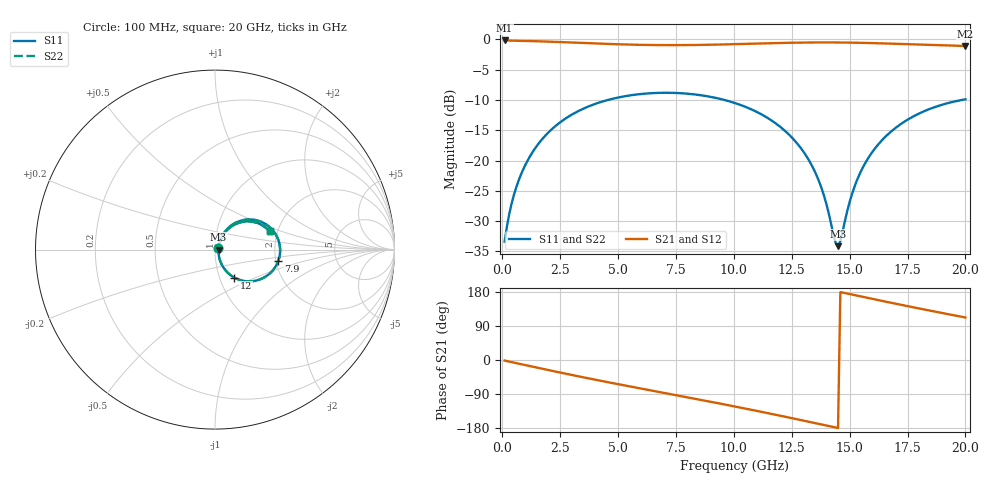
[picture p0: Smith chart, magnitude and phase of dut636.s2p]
! Touchstone file exported from HFSS 2026.1.0
!  File:  C:/ffzhzh/LocalFiles/Ansys_Project_Files/temp_train_TSV_RDL_636_1783126948_37876.aedt
!  Generated:  09:14:20 AM Jul  4, 2026
!  Design:  TSV_RDL
!  Project:  temp_train_TSV_RDL_636_1783126948_37876
! Variables:
!  h_bsmrdl = 4.11um
!  h_ox = 20um
!  h_rdl = 5um
!  h_sub = 80.96um
!  h_tmrdl = 3.84um
!  h_tsv = 80.96um
!  h_via = 3um
!  l_bsmrdl = 364.12um
!  l_sub = 4127.29um
!  l_tmrdl = 620.31um
!  m_sub = 200um
!  pitch = 38.67um
!  r_tsv = 3.58um
!  s_tmrdl = 10um
!  w_bsmrdl = 25.98um
!  w_sub = 500um
!  w_tmrdl = 25.25um
!  x_tsv_center1 = 632.935um
!  x_tsv_center2 = 1023.035um
!  x_tsv_center3 = 1668.595um
!  x_tsv_center4 = 2058.695um
!  x_tsv_center5 = 2704.255um
!  x_tsv_center6 = 3094.355um
# GHz S MA R 50.000000
! Terminal data exported
! Port[1] = TM_RDL1_1_T1
! Port[2] = TM_RDL5_1_T1
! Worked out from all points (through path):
!   200 points, 100 MHz to 20 GHz, reference 50 ohm
!   highest |S21| = -0.16 dB at 100 MHz (marker M1); lowest = -1.1 dB at 20 GHz (marker M2)
!   group delay of S21, straight-line fit = 34.2 ps
!   lowest |S11| = -34.1 dB at 14.5 GHz (marker M3), VSWR 1.04, Z = 52 + j0.0329 ohm
!   |S11| at or under -10 dB: start of sweep to 4.552 GHz; 9.604 GHz to 19.83 GHz (10.23 GHz wide, 69.5 % of centre)
!   |S22| runs from -34.1 to -8.8 dB; largest |S21 - S12| = 1.7e-14
!   S11 on the Smith chart (normalised r, x): 100 MHz: 1.04, +0.02; 7.9 GHz: 2.06, -0.30; 12 GHz: 1.18, -0.38; 20 GHz: 1.81, +0.41
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0.1  0.02142 28.4  0.9814 -1.5  0.9814 -1.5  0.02142 28.4
! Gamma 0 0 0 0
! Port Impedance 50 0 50 0
0.3  0.0362 50.6  0.9787 -4.2  0.9787 -4.2  0.0362 50.6
0.5  0.05191 57.7  0.9767 -6.9  0.9767 -6.9  0.05191 57.7
1.2  0.1087 61.1  0.9703 -16.2  0.9703 -16.2  0.1087 61.1
2.2  0.186 52.8  0.9569 -29.3  0.9569 -29.3  0.186 52.8
3.5  0.2682 38.5  0.9351 -45.7  0.9351 -45.7  0.2682 38.5
5.1  0.3346 20.4  0.9113 -65.0  0.9113 -65.0  0.3346 20.4
6.8  0.3625 1.6  0.8986 -84.7  0.8986 -84.7  0.3625 1.7
7.9  0.3579 -10.4  0.8987 -97.4  0.8987 -97.4  0.3579 -10.4
10.1  0.2963 -34.7  0.9151 -123.3  0.9151 -123.3  0.2963 -34.6
12  0.1901 -55.3  0.9354 -147.0  0.9354 -147.0  0.1901 -55.3
12.8  0.1337 -62.7  0.9417 -157.2  0.9417 -157.2  0.1337 -62.7
13.4  0.08857 -65.9  0.9445 -165.0  0.9445 -165.0  0.08857 -65.8
13.9  0.0508 -62.3  0.9453 -171.6  0.9453 -171.6  0.0508 -62.2
14.4  0.02075 -20.5  0.9446 -178.1  0.9446 -178.1  0.02081 -20.3
14.5  0.01963 0.9  0.9443 -179.4  0.9443 -179.4  0.01971 1.0
15  0.04546 55.6  0.9419 174.0  0.9419 174.0  0.04552 55.5
15.4  0.07489 60.9  0.939 168.8  0.939 168.8  0.07494 60.9
16  0.1191 59.2  0.9333 161.1  0.9333 161.1  0.1191 59.1
16.7  0.1677 53.4  0.9249 152.2  0.9249 152.2  0.1678 53.3
18.1  0.2497 38.9  0.9056 134.8  0.9056 134.8  0.2497 38.9
20  0.3205 18.4  0.8836 112.2  0.8836 112.2  0.3206 18.4
